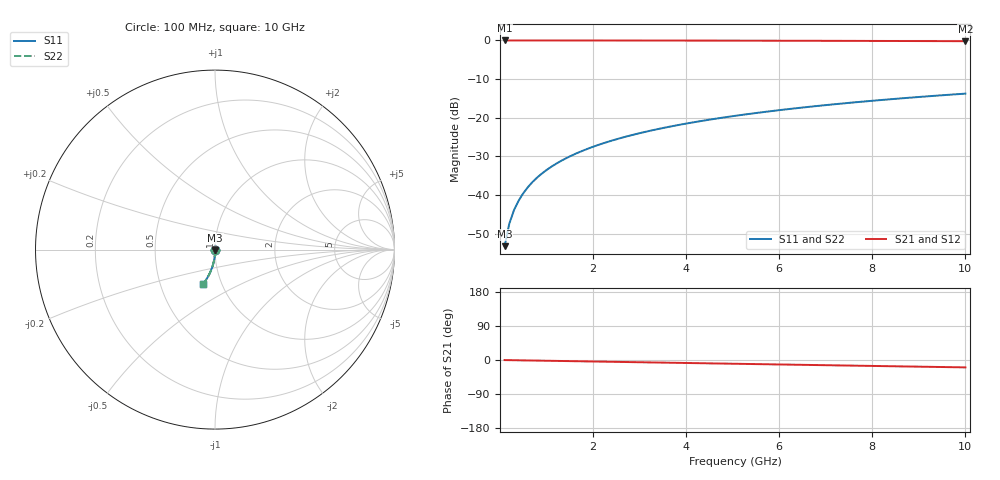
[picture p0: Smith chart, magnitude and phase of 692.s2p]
# Hz S RI R 50.00
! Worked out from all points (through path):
!   100 points, 100 MHz to 10 GHz, reference 50 ohm
!   highest |S21| = -0.01 dB at 100 MHz (marker M1); lowest = -0.2 dB at 10 GHz (marker M2)
!   group delay of S21, straight-line fit = 5.42 ps
!   lowest |S11| = -53.2 dB at 100 MHz (marker M3), VSWR 1.00, Z = 50.1 - j0.212 ohm
!   |S11| at or under -10 dB: start of sweep to end of sweep
!   |S22| runs from -53.2 to -13.8 dB; largest |S21 - S12| = 0
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1e8  0.000573 -0.00211  0.9994 -0.00344  0.9994 -0.00344  0.000573 -0.00211
2e8  0.000552 -0.00423  0.9994 -0.00687  0.9994 -0.00687  0.000552 -0.00423
3e8  0.000516 -0.00634  0.9993 -0.0103  0.9993 -0.0103  0.000516 -0.00634
4e8  0.000465 -0.00846  0.9993 -0.0137  0.9993 -0.0137  0.000465 -0.00846
5e8  0.000399 -0.0106  0.9992 -0.0172  0.9992 -0.0172  0.000399 -0.0106
6e8  0.000318 -0.0127  0.9991 -0.0206  0.9991 -0.0206  0.000318 -0.0127
7e8  0.000223 -0.0148  0.999 -0.024  0.999 -0.024  0.000223 -0.0148
8e8  0.000113 -0.0169  0.9989 -0.0275  0.9989 -0.0275  0.000113 -0.0169
9e8  -1.16e-05 -0.019  0.9987 -0.0309  0.9987 -0.0309  -1.16e-05 -0.019
1.1e9  -0.000305 -0.0232  0.9984 -0.0378  0.9984 -0.0378  -0.000305 -0.0232
1.4e9  -0.000853 -0.0296  0.9978 -0.048  0.9978 -0.048  -0.000853 -0.0296
1.8e9  -0.00179 -0.038  0.9967 -0.0617  0.9967 -0.0617  -0.00179 -0.038
2.1e9  -0.00264 -0.0442  0.9957 -0.072  0.9957 -0.072  -0.00264 -0.0442
2.5e9  -0.00398 -0.0526  0.9942 -0.0856  0.9942 -0.0856  -0.00398 -0.0526
2.9e9  -0.00554 -0.0609  0.9925 -0.0992  0.9925 -0.0992  -0.00554 -0.0609
3.4e9  -0.00781 -0.0712  0.9899 -0.1161  0.9899 -0.1161  -0.00781 -0.0712
4.2e9  -0.0122 -0.0875  0.985 -0.143  0.985 -0.143  -0.0122 -0.0875
5.1e9  -0.0181 -0.1054  0.9783 -0.1729  0.9783 -0.1729  -0.0181 -0.1054
5.9e9  -0.0243 -0.121  0.9713 -0.1991  0.9713 -0.1991  -0.0243 -0.121
6.7e9  -0.0313 -0.1362  0.9634 -0.2249  0.9634 -0.2249  -0.0313 -0.1362
8.4e9  -0.0488 -0.167  0.9437 -0.2783  0.9437 -0.2783  -0.0488 -0.167
1e10  -0.0681 -0.1936  0.9216 -0.3264  0.9216 -0.3264  -0.0681 -0.1936
